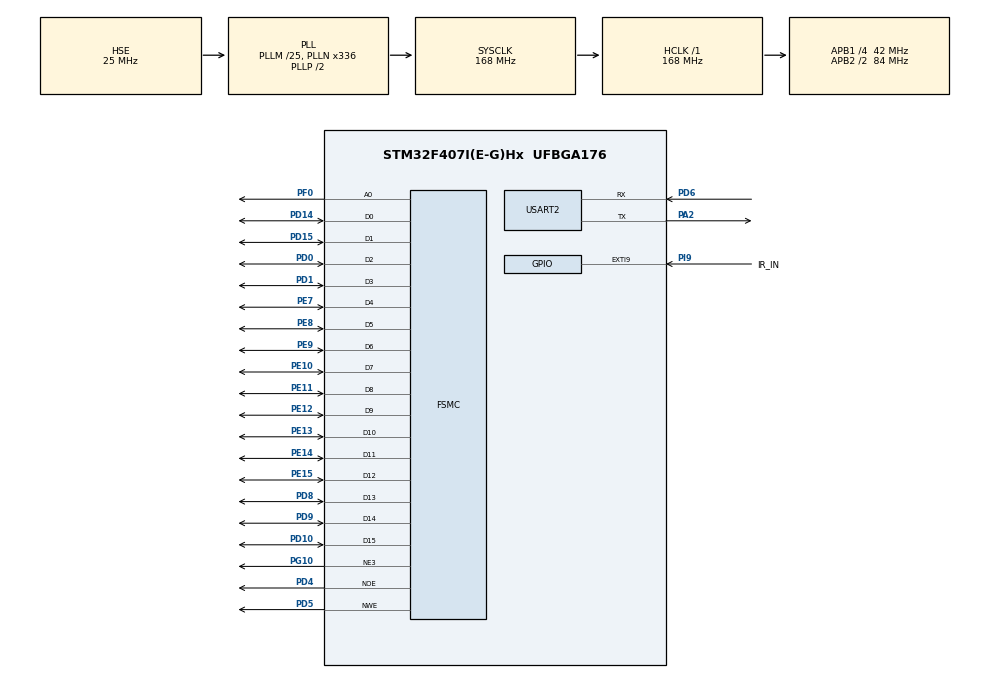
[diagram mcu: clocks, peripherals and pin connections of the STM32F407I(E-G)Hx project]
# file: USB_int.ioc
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FSMC.AddressSetupTime1=5
FSMC.BusTurnAroundDuration1=0
FSMC.DataSetupTime1=9
FSMC.WriteOperation1=FSMC_WRITE_OPERATION_ENABLE
Mcu.Family=STM32F4
Mcu.Name=STM32F407I(E-G)Hx
Mcu.Package=UFBGA176
NVIC.EXTI9_5_IRQn=true\:0\:0\:false\:false\:true\:true\:true\:true
NVIC.PriorityGroup=NVIC_PRIORITYGROUP_0
PA11.Signal=USB_OTG_FS_DM
PA12.Signal=USB_OTG_FS_DP
PA13.Mode=Serial_Wire
PA13.Signal=SYS_JTMS-SWDIO
PA14.Mode=Serial_Wire
PA14.Signal=SYS_JTCK-SWCLK
PA2.Mode=Asynchronous
PA2.Signal=USART2_TX
PA9.Signal=USB_OTG_FS_VBUS
PD0.Signal=FSMC_D2_DA2
PD1.Signal=FSMC_D3_DA3
PD10.Signal=FSMC_D15_DA15
PD14.Signal=FSMC_D0_DA0
PD15.Signal=FSMC_D1_DA1
PD4.Signal=FSMC_NOE
PD5.Signal=FSMC_NWE
PD6.Mode=Asynchronous
PD6.Signal=USART2_RX
PD8.Signal=FSMC_D13_DA13
PD9.Signal=FSMC_D14_DA14
PE10.Signal=FSMC_D7_DA7
PE11.Signal=FSMC_D8_DA8
PE12.Signal=FSMC_D9_DA9
PE13.Signal=FSMC_D10_DA10
PE14.Signal=FSMC_D11_DA11
PE15.Signal=FSMC_D12_DA12
PE7.Signal=FSMC_D4_DA4
PE8.Signal=FSMC_D5_DA5
PE9.Signal=FSMC_D6_DA6
PF0.Signal=FSMC_A0
PG10.Mode=NorPsramChipSelect3_1
PG10.Signal=FSMC_NE3
PH0-OSC_IN.Mode=HSE-External-Oscillator
PH0-OSC_IN.Signal=RCC_OSC_IN
PH1-OSC_OUT.Mode=HSE-External-Oscillator
PH1-OSC_OUT.Signal=RCC_OSC_OUT
PI9.GPIO_Label=IR_IN
PI9.GPIO_ModeDefaultEXTI=GPIO_MODE_IT_FALLING
PI9.GPIO_PuPd=GPIO_PULLUP
PI9.Signal=GPXTI9
ProjectManager.HeapSize=0x200
ProjectManager.StackSize=0x400
ProjectManager.TargetToolchain=STM32CubeIDE
RCC.48MHZClocksFreq_Value=48000000
RCC.AHBFreq_Value=168000000
RCC.APB1CLKDivider=RCC_HCLK_DIV4
RCC.APB1Freq_Value=42000000
RCC.APB1TimFreq_Value=84000000
RCC.APB2CLKDivider=RCC_HCLK_DIV2
RCC.APB2Freq_Value=84000000
RCC.APB2TimFreq_Value=168000000
RCC.CortexFreq_Value=168000000
RCC.FLatency-AdvancedSettings=FLASH_LATENCY_5
RCC.HCLKFreq_Value=168000000
RCC.HSE_VALUE=25000000
RCC.HSI_VALUE=16000000
RCC.LSE_VALUE=32768
RCC.PLLM=25
RCC.PLLN=336
RCC.PLLQ=7
RCC.PLLSourceVirtual=RCC_PLLSOURCE_HSE
RCC.PWR_Regulator_Voltage_Scale-AdvancedSettings=PWR_REGULATOR_VOLTAGE_SCALE1
RCC.SYSCLKFreq_VALUE=168000000
RCC.SYSCLKSource=RCC_SYSCLKSOURCE_PLLCLK
RCC.VCOOutputFreq_Value=336000000
SH.FSMC_A0.0=FSMC_A0,1b-a1
SH.FSMC_D0_DA0.0=FSMC_D0,16b-d1
SH.FSMC_D10_DA10.0=FSMC_D10,16b-d1
SH.FSMC_D11_DA11.0=FSMC_D11,16b-d1
SH.FSMC_D12_DA12.0=FSMC_D12,16b-d1
SH.FSMC_D13_DA13.0=FSMC_D13,16b-d1
SH.FSMC_D14_DA14.0=FSMC_D14,16b-d1
SH.FSMC_D15_DA15.0=FSMC_D15,16b-d1
SH.FSMC_D1_DA1.0=FSMC_D1,16b-d1
SH.FSMC_D2_DA2.0=FSMC_D2,16b-d1
SH.FSMC_D3_DA3.0=FSMC_D3,16b-d1
SH.FSMC_D4_DA4.0=FSMC_D4,16b-d1
SH.FSMC_D5_DA5.0=FSMC_D5,16b-d1
SH.FSMC_D6_DA6.0=FSMC_D6,16b-d1
SH.FSMC_D7_DA7.0=FSMC_D7,16b-d1
SH.FSMC_D8_DA8.0=FSMC_D8,16b-d1
SH.FSMC_D9_DA9.0=FSMC_D9,16b-d1
SH.FSMC_NOE.0=FSMC_NOE,Sram1
SH.FSMC_NWE.0=FSMC_NWE,Sram1
TIM2.Prescaler=83
USART2.VirtualMode=VM_ASYNC
VP_TIM2_VS_ClockSourceINT.Mode=Internal
board=STM3240G-EVAL

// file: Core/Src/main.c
/* USER CODE BEGIN Header */
/**
  ******************************************************************************
  * @file           : main.c
  * @brief          : Main program body
  ******************************************************************************
  * @attention
  *
  * Copyright (c) 2025 STMicroelectronics.
  * All rights reserved.
  *
  * This software is licensed under terms that can be found in the LICENSE file
  * in the root directory of this software component.
  * If no LICENSE file comes with this software, it is provided AS-IS.
  *
  ******************************************************************************
  */
/* USER CODE END Header */
#include "main.h"
#include "tim.h"
#include "usart.h"
#include "gpio.h"
#include "fsmc.h"

/* USER CODE BEGIN Includes */
#include "../usb_dev_scr/usb_dev.h"
#include "../lcd_utilities/lcd_util.h"
#include <stdio.h>
/* USER CODE END Includes */

/* USER CODE BEGIN PV */
extern UART_HandleTypeDef huart2;
static uint32_t last_falling_edge_time = 0;
static uint8_t bit_index = 0;
static uint32_t ir_data = 0;
static uint8_t receiving = 0;
uint8_t last_cmd = 0;
uint8_t cmd_proc = 1;
/* USER CODE END PV */

void SystemClock_Config(void);

/* USER CODE BEGIN 0 */

//int _write(int file, char *ptr, int len)
//{
//	CDC_Transmit_FS((uint8_t*)ptr, len);
//    return len;
//}

/* USER CODE END 0 */

int main(void)
{

  /* MCU Configuration--------------------------------------------------------*/

  /* Reset of all peripherals, Initializes the Flash interface and the Systick. */
  HAL_Init();

  /* Configure the system clock */
  SystemClock_Config();

  /* Initialize all configured peripherals */
  MX_GPIO_Init();
  MX_USART2_UART_Init();
  MX_TIM2_Init();
  MX_FSMC_Init();
  /* USER CODE BEGIN 2 */

  HAL_TIM_Base_Start(&htim2);

  LCD_Init();
  LCD_SetFont(&Font16x24); // Choose font - big or small (&Font8x8)

  USB_Core_Init();
  USB_Device_Init();

  if (USB_OTG_FS -> GINTSTS & 1) {
	  char mode[] = "[Host mode]";
	  LCD_PrintString16(220,320,mode,sizeof(mode)-1);
  } else {
	  char mode[] = "[Device mode]";
	  LCD_PrintString16(220,320,mode,sizeof(mode)-1);
  }

  uint32_t* temp = test_data_buffer;
  /* USER CODE END 2 */

  /* Infinite loop */
  /* USER CODE BEGIN WHILE */
  while (1)
  {
	  if ( !HAL_GPIO_ReadPin(IR_IN_GPIO_Port, IR_IN_Pin) ) {
//		  HAL_Delay(100);
//		  printf("0\n");
	  } else {
//		  HAL_Delay(100);
//		  printf("1\n");
	  }

	  if (usb_is_configured == 1) {
		  char dev_ready[] = "[Ready to use]";
		  LCD_PrintString16(0,320,dev_ready, sizeof(dev_ready)-1);
	  }

	  if (!cmd_proc) {
		  if (usb_is_configured == 1) {

			  LCD_PrintString16(100,320,"                    ", 20);

			  if (last_cmd == 0x18) {
				  USB_HID_Send_Consumer_Control(1, 0x01); // Volume up control
				  HAL_Delay(50); // Short press
				  USB_HID_Send_Consumer_Control(1, 0x00); // Release

				  char chars[] = "Volume up";
				  LCD_PrintString16(100,320,chars, sizeof(chars)-1);

			  } else if (last_cmd == 0x0C) {
				  USB_HID_Send_Consumer_Control(1, 0x02); // Volume down control
				  HAL_Delay(50); // Short press
				  USB_HID_Send_Consumer_Control(1, 0x00); // Release

				  char chars[] = "Volume down";
				  LCD_PrintString16(100,320,chars,sizeof(chars)-1);

			  } else if (last_cmd == 0x5e) {
				  USB_HID_Send_Consumer_Control(1, 0x04); // Mute
				  HAL_Delay(50); // Short press
				  USB_HID_Send_Consumer_Control(1, 0x00); // Release

				  char chars[] = "Mute";
				  LCD_PrintString16(100,320,chars,sizeof(chars)-1);

			  } else if (last_cmd == 0x19) {
				  USB_HID_Send_Consumer_Control(1, 0x08); // Brightness up
				  HAL_Delay(50); // Short press
				  USB_HID_Send_Consumer_Control(1, 0x00); // Release

				  char chars[] = "Bright up";
				  LCD_PrintString16(100,320,chars,sizeof(chars)-1);

			  } else if (last_cmd == 0x16) {
				  USB_HID_Send_Consumer_Control(1, 0x10); // Brightness down
				  HAL_Delay(50); // Short press
				  USB_HID_Send_Consumer_Control(1, 0x00); // Release

				  char chars[] = "Bright down";
				  LCD_PrintString16(100,320,chars,sizeof(chars)-1);

			  } else if (last_cmd == 0x46) {
				  USB_HID_Send_Consumer_Control(2, 0x02); // Sleep
				  HAL_Delay(50); // Short press
				  USB_HID_Send_Consumer_Control(2, 0x00); // Release

				  char chars[] = "Sleep";
				  LCD_PrintString16(100,320,chars,sizeof(chars)-1);

			  } else if (last_cmd == 0x45) {
				  USB_HID_Send_Consumer_Control(2, 0x04); // Wakeup
				  HAL_Delay(50); // Short press
				  USB_HID_Send_Consumer_Control(2, 0x00); // Release

				  char chars[] = "Wake up";
				  LCD_PrintString16(100,320,chars,sizeof(chars)-1);

			  } else if (last_cmd == 0x47) {
				  USB_HID_Send_Consumer_Control(2, 0x01); // Shutdown
				  HAL_Delay(50); // Short press
				  USB_HID_Send_Consumer_Control(2, 0x00); // Release

				  char chars[] = "Shutdown :)";
				  LCD_PrintString16(100,320,chars,sizeof(chars)-1);

			  }
		  }
//		  LCD_PrintUnsigned32Hex(70,320, last_cmd);
		  cmd_proc = 1;
	  }
	  HAL_Delay(200);

	  if (usb_is_configured == 10) {
		   // Wait long enough to see the effect
		  LCD_PrintString16(100,320,"command sent",13);
		  LCD_PrintUnsigned32Hex(130,320, loop_testing + 1);
		  HAL_Delay(1000);
	  }

    /* USER CODE END WHILE */

  }
}

void SystemClock_Config(void)
{
  RCC_OscInitTypeDef RCC_OscInitStruct = {0};
  RCC_ClkInitTypeDef RCC_ClkInitStruct = {0};

  /** Configure the main internal regulator output voltage
  */
  __HAL_RCC_PWR_CLK_ENABLE();
  __HAL_PWR_VOLTAGESCALING_CONFIG(PWR_REGULATOR_VOLTAGE_SCALE1);

  /** Initializes the RCC Oscillators according to the specified parameters
  * in the RCC_OscInitTypeDef structure.
  */
  RCC_OscInitStruct.OscillatorType = RCC_OSCILLATORTYPE_HSE;
  RCC_OscInitStruct.HSEState = RCC_HSE_ON;
  RCC_OscInitStruct.PLL.PLLState = RCC_PLL_ON;
  RCC_OscInitStruct.PLL.PLLSource = RCC_PLLSOURCE_HSE;
  RCC_OscInitStruct.PLL.PLLM = 25;
  RCC_OscInitStruct.PLL.PLLN = 336;
  RCC_OscInitStruct.PLL.PLLP = RCC_PLLP_DIV2;
  RCC_OscInitStruct.PLL.PLLQ = 7;
  if (HAL_RCC_OscConfig(&RCC_OscInitStruct) != HAL_OK)
  {
    Error_Handler();
  }

  /** Initializes the CPU, AHB and APB buses clocks
  */
  RCC_ClkInitStruct.ClockType = RCC_CLOCKTYPE_HCLK|RCC_CLOCKTYPE_SYSCLK
                              |RCC_CLOCKTYPE_PCLK1|RCC_CLOCKTYPE_PCLK2;
  RCC_ClkInitStruct.SYSCLKSource = RCC_SYSCLKSOURCE_PLLCLK;
  RCC_ClkInitStruct.AHBCLKDivider = RCC_SYSCLK_DIV1;
  RCC_ClkInitStruct.APB1CLKDivider = RCC_HCLK_DIV4;
  RCC_ClkInitStruct.APB2CLKDivider = RCC_HCLK_DIV2;

  if (HAL_RCC_ClockConfig(&RCC_ClkInitStruct, FLASH_LATENCY_5) != HAL_OK)
  {
    Error_Handler();
  }
}

/* USER CODE BEGIN 4 */

void HAL_GPIO_EXTI_Callback(uint16_t GPIO_Pin)
{
    if (GPIO_Pin == IR_IN_Pin)  // Change to your IR pin
    {
    	// On falling edge (IR receiver goes LOW when signal starts)
		uint32_t now = __HAL_TIM_GET_COUNTER(&htim2);
		uint32_t pulse_duration = now >= last_falling_edge_time ?
								  now - last_falling_edge_time :
								  (0xFFFFFFFF - last_falling_edge_time + now);
		last_falling_edge_time = now;
//		printf("Pulse: %lu\n", pulse_duration);

		// 1. Check for NEC Start Pulse (~9ms + 4.5ms = ~13.5ms between pulses)
		if (!receiving && pulse_duration > 13300 && pulse_duration < 14000) {
			// Detected leading LOW pulse (~9ms)
			receiving = 1;
			bit_index = 0;
			ir_data = 0;
			return;
		}

		// 2. Decode bits if receiving
		if (receiving)
		{
			// NEC protocol sends 560us LOW + ( variable 1.68ms HIGH [1]  or 560us LOW [0])
			if (pulse_duration >= 2200 && pulse_duration <= 2350) {
				// Bit = 1
				ir_data |= (1UL << bit_index);
			}
			else if (pulse_duration >= 1100 && pulse_duration <= 1250) {
				// Bit = 0 → already zeroed in ir_data
			}
			else {
				// Invalid pulse → reset frame
				receiving = 0;
				bit_index = 0;
				ir_data = 0;
				return;
			}

			bit_index++;

			// 3. Full 32-bit code received
			if (bit_index >= 32)
			{
				receiving = 0;

				// Decode and verify
				uint8_t addr      = (ir_data >> 0) & 0xFF;
				uint8_t addr_inv  = (ir_data >> 8) & 0xFF;
				uint8_t cmd       = (ir_data >> 16) & 0xFF;
				uint8_t cmd_inv   = (ir_data >> 24) & 0xFF;

				if ((addr ^ addr_inv) == 0xFF && (cmd ^ cmd_inv) == 0xFF)
				{
					printf("NEC Address: 0x%02X, Command: 0x%02X\n", addr, cmd);
					last_cmd = cmd;
					cmd_proc = 0;
				}
				else
				{
					printf("Invalid NEC code received\n");
				}

				ir_data = 0;
				bit_index = 0;
			}
		}

    }
}
/* USER CODE END 4 */

void Error_Handler(void)
{
  __disable_irq();
  while (1)
  {
  }
}
